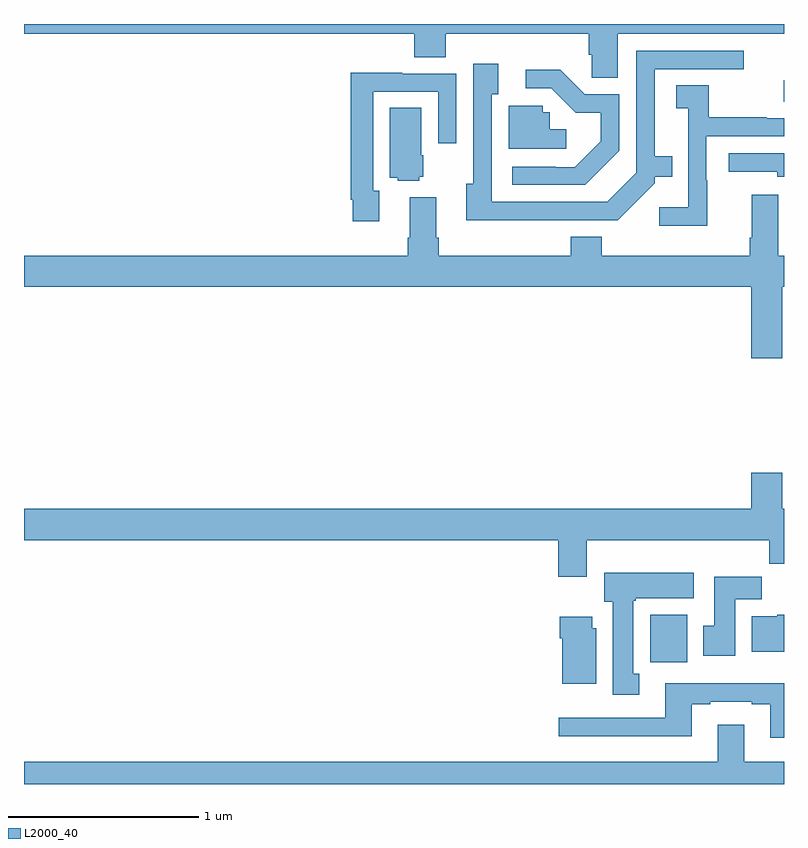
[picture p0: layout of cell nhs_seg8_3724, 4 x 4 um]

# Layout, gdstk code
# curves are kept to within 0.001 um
import gdstk
lib = gdstk.Library(unit=1e-6, precision=1e-09)
def R(c, l, rs):  # rectangles x0, y0, x1, y1
    for r in rs: c.add(gdstk.rectangle(r[:2], r[2:], *l))
def P(c, l, *ps):  # polygons
    for p in ps: c.add(gdstk.Polygon(p, *l))
L2000_40 = (2000, 40)

nhs_seg8_3724 = lib.new_cell('nhs_seg8_3724')
R(nhs_seg8_3724, L2000_40, [(344.295,1098.54,344.491,1098.79), (344.998,1101.492,345,1101.604)])
P(nhs_seg8_3724, L2000_40, [(344.125,1101.848),(345,1101.848),(345,1101.9),(341,1101.9),(341,1101.848),(343.055,1101.848),(343.055,1101.724),(343.22,1101.724),(343.22,1101.848),(343.973,1101.848),(343.973,1101.738),(343.987,1101.738),(343.987,1101.616),(344.125,1101.616)],
  [(343.793,1100.868),(344.124,1100.868),(344.319,1101.063),(344.319,1101.095),(344.411,1101.095),(344.411,1101.205),(344.32,1101.205),(344.32,1101.663),(344.788,1101.663),(344.788,1101.759),(344.223,1101.759),(344.223,1101.117),(344.07,1100.964),(343.461,1100.964),(343.461,1101.53),(343.495,1101.53),(343.495,1101.691),(343.365,1101.691),(343.365,1101.058),(343.328,1101.058),(343.328,1100.867)],
  [(344.133,1101.233),(344.133,1101.531),(343.95,1101.531),(343.822,1101.659),(343.641,1101.659),(343.641,1101.561),(343.776,1101.561),(343.903,1101.434),(344.036,1101.434),(344.036,1101.284),(343.899,1101.147),(343.799,1101.147),(343.799,1101.15),(343.569,1101.15),(343.569,1101.054),(343.954,1101.054)],
  [(342.871,1101.023),(342.837,1101.023),(342.837,1101.543),(343.179,1101.543),(343.179,1101.273),(343.275,1101.273),(343.275,1101.639),(342.991,1101.639),(342.991,1101.643),(342.721,1101.643),(342.721,1100.974),(342.729,1100.974),(342.729,1100.862),(342.871,1100.862)],
  [(344.595,1101.077),(344.592,1101.077),(344.592,1101.309),(345,1101.309),(345,1101.405),(344.909,1101.405),(344.909,1101.408),(344.605,1101.408),(344.605,1101.578),(344.433,1101.578),(344.433,1101.457),(344.496,1101.457),(344.496,1100.935),(344.343,1100.935),(344.343,1100.837),(344.595,1100.837)],
  [(343.855,1101.346),(343.767,1101.346),(343.767,1101.435),(343.731,1101.435),(343.731,1101.471),(343.55,1101.471),(343.55,1101.243),(343.855,1101.243)],
  [(343.08,1101.096),(343.102,1101.096),(343.102,1101.21),(343.09,1101.21),(343.09,1101.458),(342.926,1101.458),(342.926,1101.092),(342.966,1101.092),(342.966,1101.074),(343.08,1101.074)],
  [(345,1101.219),(344.709,1101.219),(344.709,1101.123),(344.964,1101.123),(344.964,1101.096),(345,1101.096)],
  [(344.992,1100.516),(345,1100.516),(345,1100.68),(344.971,1100.68),(344.971,1101.001),(344.831,1101.001),(344.831,1100.776),(344.819,1100.776),(344.819,1100.68),(344.042,1100.68),(344.042,1100.779),(343.877,1100.779),(343.877,1100.68),(343.184,1100.68),(343.184,1100.776),(343.171,1100.776),(343.171,1100.989),(343.031,1100.989),(343.031,1100.776),(343.019,1100.776),(343.019,1100.68),(341,1100.68),(341,1100.516),(344.828,1100.516),(344.828,1100.142),(344.992,1100.142)],
  [(344.828,1099.537),(344.828,1099.348),(341,1099.348),(341,1099.184),(343.811,1099.184),(343.811,1098.99),(343.963,1098.99),(343.963,1099.184),(344.923,1099.184),(344.923,1099.06),(345,1099.06),(345,1099.348),(344.992,1099.348),(344.992,1099.537)],
  [(344.239,1098.481),(344.206,1098.481),(344.206,1098.865),(344.22,1098.865),(344.22,1098.878),(344.524,1098.878),(344.524,1099.012),(344.054,1099.012),(344.054,1098.858),(344.099,1098.858),(344.099,1098.369),(344.239,1098.369)],
  [(344.743,1098.872),(344.882,1098.872),(344.882,1098.991),(344.633,1098.991),(344.633,1098.732),(344.576,1098.732),(344.576,1098.576),(344.743,1098.576)],
  [(345,1098.79),(344.964,1098.79),(344.964,1098.784),(344.831,1098.784),(344.831,1098.596),(345,1098.596)],
  [(344.011,1098.72),(343.99,1098.72),(343.99,1098.781),(343.82,1098.781),(343.82,1098.668),(343.832,1098.668),(343.832,1098.428),(344.011,1098.428)],
  [(345,1098.43),(344.375,1098.43),(344.375,1098.249),(343.815,1098.249),(343.815,1098.152),(344.515,1098.152),(344.515,1098.321),(344.611,1098.321),(344.611,1098.333),(344.831,1098.333),(344.831,1098.321),(344.927,1098.321),(344.927,1098.144),(345,1098.144)],
  [(345,1098.016),(344.791,1098.016),(344.791,1098.211),(344.651,1098.211),(344.651,1098.016),(341,1098.016),(341,1097.9),(345,1097.9)])

lib.write_gds('nhs_seg8_3724.gds')
